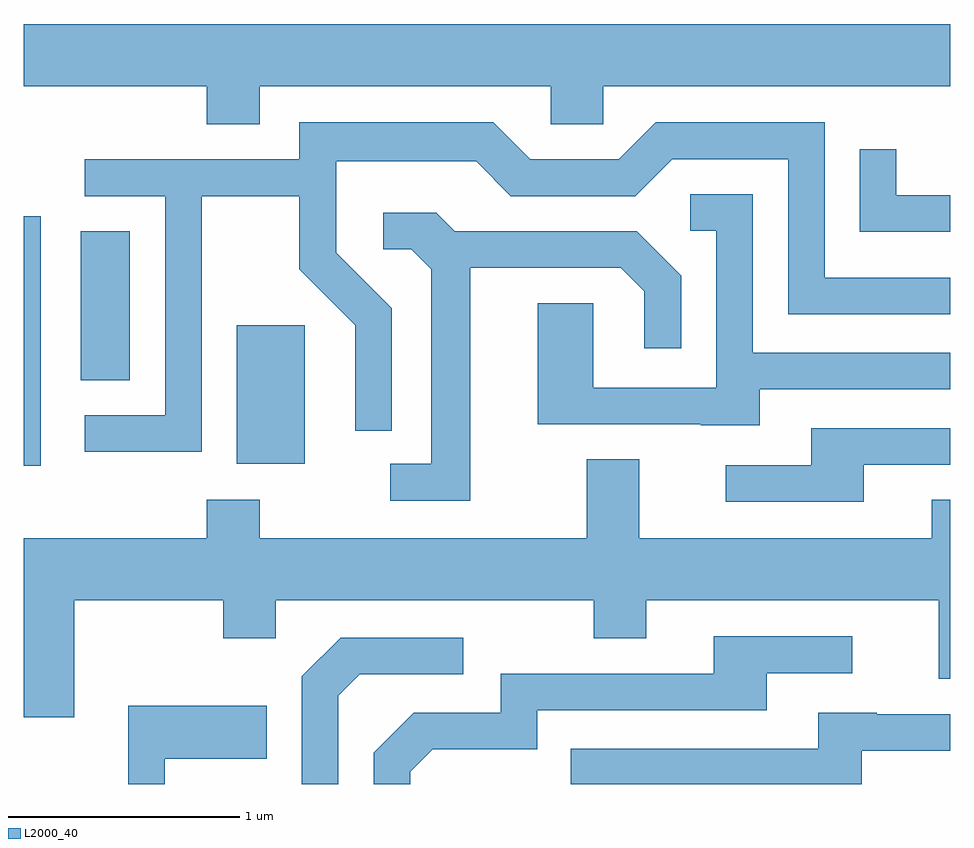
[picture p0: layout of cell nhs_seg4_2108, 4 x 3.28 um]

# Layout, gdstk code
import gdstk
lib = gdstk.Library(unit=1e-6, precision=1e-09)
def R(c, l, rs):  # rectangles x0, y0, x1, y1
    for r in rs: c.add(gdstk.rectangle(r[:2], r[2:], *l))
def P(c, l, *ps):  # polygons
    for p in ps: c.add(gdstk.Polygon(p, *l))
L2000_40 = (2000, 40)

nhs_seg4_2108 = lib.new_cell('nhs_seg4_2108')
R(nhs_seg4_2108, L2000_40, [(247.611,1255.356,247.684,1256.434), (248.531,1255.366,248.824,1255.964), (247.856,1255.726,248.069,1256.369)])
P(nhs_seg4_2108, L2000_40, [(248.629,1256.996),(249.886,1256.996),(249.886,1256.831),(250.114,1256.831),(250.114,1256.996),(251.611,1256.996),(251.611,1257.264),(247.611,1257.264),(247.611,1256.996),(248.401,1256.996),(248.401,1256.831),(248.629,1256.831)],
  [(248.379,1256.521),(248.801,1256.521),(248.801,1256.204),(249.041,1255.964),(249.041,1255.508),(249.199,1255.508),(249.199,1256.037),(248.959,1256.277),(248.959,1256.671),(249.564,1256.671),(249.714,1256.521),(250.252,1256.521),(250.412,1256.681),(250.911,1256.681),(250.911,1256.011),(251.611,1256.011),(251.611,1256.169),(251.069,1256.169),(251.069,1256.839),(250.339,1256.839),(250.179,1256.679),(249.797,1256.679),(249.637,1256.839),(248.801,1256.839),(248.801,1256.679),(247.873,1256.679),(247.873,1256.521),(248.221,1256.521),(248.221,1255.574),(247.873,1255.574),(247.873,1255.416),(248.379,1255.416)],
  [(251.611,1256.524),(251.379,1256.524),(251.379,1256.723),(251.221,1256.723),(251.221,1256.366),(251.611,1256.366)],
  [(250.789,1255.686),(251.611,1255.686),(251.611,1255.844),(250.759,1255.844),(250.759,1256.529),(250.488,1256.529),(250.488,1256.371),(250.601,1256.371),(250.601,1255.694),(250.069,1255.694),(250.069,1256.059),(249.831,1256.059),(249.831,1255.536),(250.535,1255.536),(250.535,1255.531),(250.789,1255.531)],
  [(249.539,1256.211),(250.189,1256.211),(250.291,1256.109),(250.291,1255.863),(250.449,1255.863),(250.449,1256.177),(250.257,1256.369),(249.472,1256.369),(249.392,1256.449),(249.163,1256.449),(249.163,1256.291),(249.284,1256.291),(249.371,1256.204),(249.371,1255.364),(249.193,1255.364),(249.193,1255.206),(249.539,1255.206)],
  [(251.239,1255.361),(251.611,1255.361),(251.611,1255.519),(251.011,1255.519),(251.011,1255.359),(250.643,1255.359),(250.643,1255.201),(251.239,1255.201)],
  [(250.041,1255.044),(248.629,1255.044),(248.629,1255.209),(248.401,1255.209),(248.401,1255.044),(247.611,1255.044),(247.611,1254.271),(247.829,1254.271),(247.829,1254.776),(248.471,1254.776),(248.471,1254.611),(248.699,1254.611),(248.699,1254.776),(250.071,1254.776),(250.071,1254.611),(250.299,1254.611),(250.299,1254.776),(251.561,1254.776),(251.561,1254.436),(251.611,1254.436),(251.611,1255.209),(251.531,1255.209),(251.531,1255.044),(250.269,1255.044),(250.269,1255.384),(250.041,1255.384)],
  [(249.279,1254.034),(249.377,1254.131),(249.829,1254.131),(249.829,1254.301),(250.819,1254.301),(250.819,1254.461),(251.188,1254.461),(251.188,1254.619),(250.591,1254.619),(250.591,1254.459),(249.671,1254.459),(249.671,1254.289),(249.294,1254.289),(249.121,1254.117),(249.121,1253.982),(249.279,1253.982)],
  [(248.969,1254.364),(249.062,1254.456),(249.508,1254.456),(249.508,1254.614),(248.979,1254.614),(248.811,1254.447),(248.811,1253.982),(248.969,1253.982)],
  [(248.219,1254.091),(248.659,1254.091),(248.659,1254.319),(248.061,1254.319),(248.061,1253.982),(248.219,1253.982)],
  [(251.229,1254.126),(251.611,1254.126),(251.611,1254.284),(251.295,1254.284),(251.295,1254.289),(251.041,1254.289),(251.041,1254.134),(249.973,1254.134),(249.973,1253.982),(251.229,1253.982)])

lib.write_gds('nhs_seg4_2108.gds')
